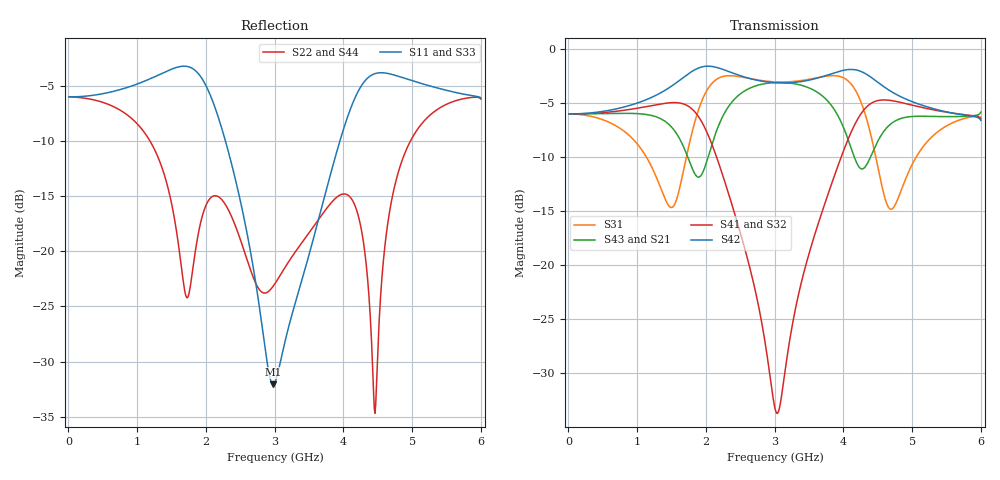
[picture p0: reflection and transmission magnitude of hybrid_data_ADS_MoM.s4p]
! Created Sun Dec  3 19:34:31 2023
# hz S ma R 50
! 4 Port Network Data from SP1.SP block
! freq  magS11  angS11  magS12  angS12  magS13  angS13  magS14  angS14
!  magS21  angS21  magS22  angS22  magS23  angS23  magS24  angS24
!  magS31  angS31  magS32  angS32  magS33  angS33  magS34  angS34
!  magS41  angS41  magS42  angS42  magS43  angS43  magS44  angS44
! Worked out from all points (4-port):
!   600 points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, 10 MHz to 6 GHz, reference 50 ohm
!   strongest paths, dB at 10 MHz, 1.51 GHz, 3.01 GHz, 4.51 GHz, 6 GHz:
!     S42: -6.0, -3.4, -3.1, -3.1, -6.6
!     S41: -6.0, -5.0, -33.4, -4.8, -6.5
!     S32: -6.0, -5.0, -33.4, -4.8, -6.5
!     S43: -6.0, -7.3, -3.1, -8.4, -5.9
!     S21: -6.0, -7.3, -3.1, -8.4, -5.9
!     S31: -6.0, -14.7, -3.1, -11.2, -6.4
!   lowest |S11| = -32.1 dB at 2.98 GHz (marker M1), VSWR 1.05, Z = 49 + j2.25 ohm
!   |S11| at or under -10 dB: 2.283 GHz to 3.95 GHz (1.668 GHz wide, 53.5 % of centre)
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1e7  0.4997 179.4  0.5 -0.6  0.4999 -0.8  0.4998 -1.1
     0.5 -0.6  0.4996 179.2  0.4998 -1.1  0.4998 -1.1
     0.4999 -0.8  0.4998 -1.1  0.4997 179.4  0.5 -0.6
     0.4998 -1.1  0.4998 -1.1  0.5 -0.6  0.4996 179.2
1.73e9  0.6857 38.8  0.3191 -121.3  0.331 -51.8  0.5455 147.9
        0.3191 -121.3  0.0615 78.8  0.5455 147.9  0.7596 166.9
        0.331 -51.8  0.5455 147.9  0.6857 38.8  0.3191 -121.3
        0.5455 147.9  0.7596 166.9  0.3191 -121.3  0.0615 78.8
2.23e9  0.3601 -50.4  0.4758 -108.8  0.7415 -113.4  0.2685 60.6
        0.4758 -108.8  0.1712 65.8  0.2685 60.6  0.806 91.0
        0.7415 -113.4  0.2685 60.6  0.3601 -50.4  0.4758 -108.8
        0.2685 60.6  0.806 91.0  0.4758 -108.8  0.1712 65.8
2.98e9  0.02493 112.8  0.697 174.6  0.7033 173.8  0.02397 -64.5
        0.697 174.6  0.0695 75.5  0.02397 -64.5  0.6973 -4.4
        0.7033 173.8  0.02397 -64.5  0.02493 112.8  0.697 174.6
        0.02397 -64.5  0.6973 -4.4  0.697 174.6  0.0695 75.5
4.23e9  0.5402 151.0  0.2834 73.3  0.5931 42.4  0.4859 38.0
        0.2834 73.3  0.1392 7.9  0.4859 38.0  0.7908 -171.9
        0.5931 42.4  0.4859 38.0  0.5402 151.0  0.2834 73.3
        0.4859 38.0  0.7908 -171.9  0.2834 73.3  0.1392 7.9
4.46e9  0.6364 106.6  0.3516 83.6  0.3282 17.8  0.5707 -5.3
        0.3516 83.6  0.01843 52.5  0.5707 -5.3  0.7154 153.1
        0.3282 17.8  0.5707 -5.3  0.6364 106.6  0.3516 83.6
        0.5707 -5.3  0.7154 153.1  0.3516 83.6  0.01843 52.5
6e9  0.4937 -42.8  0.5092 -28.7  0.4805 -33.2  0.4733 144.8
     0.5092 -28.7  0.4884 -51.6  0.4733 144.8  0.4661 -42.0
     0.4805 -33.2  0.4733 144.8  0.4937 -42.8  0.5092 -28.7
     0.4733 144.8  0.4661 -42.0  0.5092 -28.7  0.4884 -51.6
